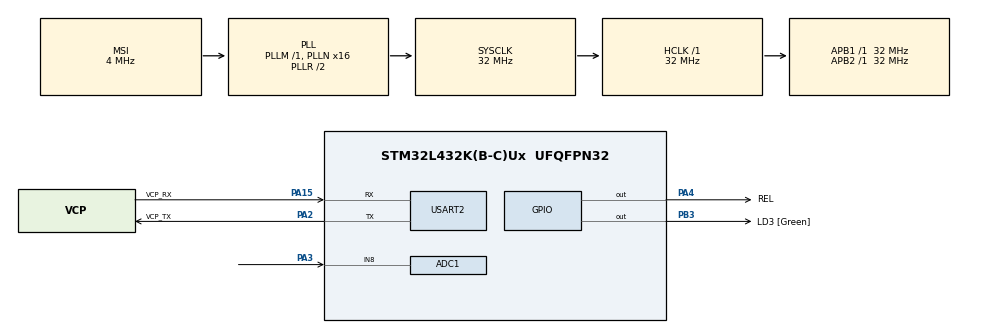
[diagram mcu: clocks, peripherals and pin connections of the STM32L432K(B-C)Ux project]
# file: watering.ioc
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ADC1.Channel-0\#ChannelRegularConversion=ADC_CHANNEL_8
ADC1.NbrOfConversionFlag=1
ADC1.OffsetNumber-0\#ChannelRegularConversion=ADC_OFFSET_NONE
ADC1.Rank-0\#ChannelRegularConversion=1
ADC1.SamplingTime-0\#ChannelRegularConversion=ADC_SAMPLETIME_2CYCLES_5
ADC1.master=1
Mcu.Family=STM32L4
Mcu.Name=STM32L432K(B-C)Ux
Mcu.Package=UFQFPN32
NVIC.PriorityGroup=NVIC_PRIORITYGROUP_4
PA0.GPIO_Label=MCO [High speed clock in]
PA0.Mode=HSE-External-Clock-Source-for-LittleOrca
PA0.Signal=RCC_CK_IN
PA13\ (JTMS-SWDIO).GPIO_Label=SWDIO
PA13\ (JTMS-SWDIO).Mode=Serial_Wire
PA13\ (JTMS-SWDIO).Signal=SYS_JTMS-SWDIO
PA14\ (JTCK-SWCLK).GPIO_Label=SWCLK
PA14\ (JTCK-SWCLK).Mode=Serial_Wire
PA14\ (JTCK-SWCLK).Signal=SYS_JTCK-SWCLK
PA15\ (JTDI).GPIO_Label=VCP_RX
PA15\ (JTDI).Mode=Asynchronous
PA15\ (JTDI).Signal=USART2_RX
PA2.GPIO_Label=VCP_TX
PA2.Mode=Asynchronous
PA2.Signal=USART2_TX
PA3.Signal=ADCx_IN8
PA4.GPIO_Label=REL
PA4.Signal=GPIO_Output
PB3\ (JTDO-TRACESWO).GPIO_Label=LD3 [Green]
PB3\ (JTDO-TRACESWO).Signal=GPIO_Output
PC14-OSC32_IN\ (PC14).Mode=LSE-External-Oscillator
PC14-OSC32_IN\ (PC14).Signal=RCC_OSC32_IN
PC15-OSC32_OUT\ (PC15).Mode=LSE-External-Oscillator
PC15-OSC32_OUT\ (PC15).Signal=RCC_OSC32_OUT
ProjectManager.HeapSize=0x200
ProjectManager.StackSize=0x400
ProjectManager.TargetToolchain=Makefile
RCC.ADCFreq_Value=32000000
RCC.AHBFreq_Value=32000000
RCC.APB1Freq_Value=32000000
RCC.APB1TimFreq_Value=32000000
RCC.APB2Freq_Value=32000000
RCC.APB2TimFreq_Value=32000000
RCC.CortexFreq_Value=32000000
RCC.HCLKFreq_Value=32000000
RCC.HSE_VALUE=8000000
RCC.HSI16_VALUE=16000000
RCC.HSI48_VALUE=48000000
RCC.HSI_VALUE=16000000
RCC.MSI_VALUE=4000000
RCC.PLLMUL=RCC_PLLMUL_4
RCC.PLLN=16
RCC.PLLSAI1N=16
RCC.SYSCLKFreq_VALUE=32000000
RCC.SYSCLKSource=RCC_SYSCLKSOURCE_PLLCLK
RCC.USBFreq_Value=32000000
RCC.VCOOutputFreq_Value=64000000
SH.ADCx_IN8.0=ADC1_IN8,IN8-Single-Ended
TIM16.Prescaler=32000
USART2.VirtualMode-Asynchronous=VM_ASYNC
VP_TIM16_VS_ClockSourceINT.Mode=Enable_Timer
board=NUCLEO-L432KC

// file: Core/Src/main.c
/* USER CODE BEGIN Header */
/**
 ******************************************************************************
 * @file           : main.c
 * @brief          : Main program body
 ******************************************************************************
 * @attention
 *
 * Copyright (c) 2024 STMicroelectronics.
 * All rights reserved.
 *
 * This software is licensed under terms that can be found in the LICENSE file
 * in the root directory of this software component.
 * If no LICENSE file comes with this software, it is provided AS-IS.
 *
 ******************************************************************************
 */
/* USER CODE END Header */
#include "main.h"

/* USER CODE BEGIN Includes */
#include <stdio.h>
#include <string.h>

/* USER CODE END Includes */

ADC_HandleTypeDef hadc1;

TIM_HandleTypeDef htim16;

UART_HandleTypeDef huart2;

void SystemClock_Config(void);
static void MX_GPIO_Init(void);
static void MX_TIM16_Init(void);
static void MX_USART2_UART_Init(void);
static void MX_ADC1_Init(void);

int main(void)
{

  /* MCU Configuration--------------------------------------------------------*/

  /* Reset of all peripherals, Initializes the Flash interface and the Systick. */
  HAL_Init();

  /* Configure the system clock */
  SystemClock_Config();

  /* Initialize all configured peripherals */
  MX_GPIO_Init();
  MX_TIM16_Init();
  MX_USART2_UART_Init();
  MX_ADC1_Init();
  /* USER CODE BEGIN 2 */

  HAL_TIM_Base_Start(&htim16);
  HAL_GPIO_WritePin(REL_GPIO_Port, REL_Pin, GPIO_PIN_SET); // begin with pump off

  int counter_val = 0;
  int half_secs = 0;

  int adc_value = 0;

  /* USER CODE END 2 */

  /* Infinite loop */
  /* USER CODE BEGIN WHILE */
  while (1)
  {

    counter_val = __HAL_TIM_GET_COUNTER(&htim16);

    if (counter_val >= 500)
    {
      HAL_GPIO_TogglePin(LD3_GPIO_Port, LD3_Pin);

      HAL_ADC_Start(&hadc1);
      HAL_ADC_PollForConversion(&hadc1, HAL_MAX_DELAY);
      adc_value = HAL_ADC_GetValue(&hadc1);
      HAL_ADC_Stop(&hadc1);

      printf("ADC Value: %d\r\n", adc_value);

      half_secs++;
      __HAL_TIM_SET_COUNTER(&htim16, 0);
    }

    if (half_secs >= 4)
    {
      printf("Toggle relay\r\n");
      HAL_GPIO_TogglePin(GPIOA, REL_Pin);

      half_secs = 0;
    }

    /* USER CODE END WHILE */

  }
}

void SystemClock_Config(void)
{
  RCC_OscInitTypeDef RCC_OscInitStruct = {0};
  RCC_ClkInitTypeDef RCC_ClkInitStruct = {0};

  /** Configure the main internal regulator output voltage
   */
  if (HAL_PWREx_ControlVoltageScaling(PWR_REGULATOR_VOLTAGE_SCALE1) != HAL_OK)
  {
    Error_Handler();
  }

  /** Configure LSE Drive Capability
   */
  HAL_PWR_EnableBkUpAccess();
  __HAL_RCC_LSEDRIVE_CONFIG(RCC_LSEDRIVE_LOW);

  /** Initializes the RCC Oscillators according to the specified parameters
   * in the RCC_OscInitTypeDef structure.
   */
  RCC_OscInitStruct.OscillatorType = RCC_OSCILLATORTYPE_LSE | RCC_OSCILLATORTYPE_MSI;
  RCC_OscInitStruct.LSEState = RCC_LSE_ON;
  RCC_OscInitStruct.MSIState = RCC_MSI_ON;
  RCC_OscInitStruct.MSICalibrationValue = 0;
  RCC_OscInitStruct.MSIClockRange = RCC_MSIRANGE_6;
  RCC_OscInitStruct.PLL.PLLState = RCC_PLL_ON;
  RCC_OscInitStruct.PLL.PLLSource = RCC_PLLSOURCE_MSI;
  RCC_OscInitStruct.PLL.PLLM = 1;
  RCC_OscInitStruct.PLL.PLLN = 16;
  RCC_OscInitStruct.PLL.PLLP = RCC_PLLP_DIV7;
  RCC_OscInitStruct.PLL.PLLQ = RCC_PLLQ_DIV2;
  RCC_OscInitStruct.PLL.PLLR = RCC_PLLR_DIV2;
  if (HAL_RCC_OscConfig(&RCC_OscInitStruct) != HAL_OK)
  {
    Error_Handler();
  }

  /** Initializes the CPU, AHB and APB buses clocks
   */
  RCC_ClkInitStruct.ClockType = RCC_CLOCKTYPE_HCLK | RCC_CLOCKTYPE_SYSCLK | RCC_CLOCKTYPE_PCLK1 | RCC_CLOCKTYPE_PCLK2;
  RCC_ClkInitStruct.SYSCLKSource = RCC_SYSCLKSOURCE_PLLCLK;
  RCC_ClkInitStruct.AHBCLKDivider = RCC_SYSCLK_DIV1;
  RCC_ClkInitStruct.APB1CLKDivider = RCC_HCLK_DIV1;
  RCC_ClkInitStruct.APB2CLKDivider = RCC_HCLK_DIV1;

  if (HAL_RCC_ClockConfig(&RCC_ClkInitStruct, FLASH_LATENCY_1) != HAL_OK)
  {
    Error_Handler();
  }

  /** Enable MSI Auto calibration
   */
  HAL_RCCEx_EnableMSIPLLMode();
}

static void MX_ADC1_Init(void)
{

  ADC_ChannelConfTypeDef sConfig = {0};

  /** Common config
   */
  hadc1.Instance = ADC1;
  hadc1.Init.ClockPrescaler = ADC_CLOCK_ASYNC_DIV1;
  hadc1.Init.Resolution = ADC_RESOLUTION_12B;
  hadc1.Init.DataAlign = ADC_DATAALIGN_RIGHT;
  hadc1.Init.ScanConvMode = ADC_SCAN_DISABLE;
  hadc1.Init.EOCSelection = ADC_EOC_SINGLE_CONV;
  hadc1.Init.LowPowerAutoWait = DISABLE;
  hadc1.Init.ContinuousConvMode = DISABLE;
  hadc1.Init.NbrOfConversion = 1;
  hadc1.Init.DiscontinuousConvMode = DISABLE;
  hadc1.Init.ExternalTrigConv = ADC_SOFTWARE_START;
  hadc1.Init.ExternalTrigConvEdge = ADC_EXTERNALTRIGCONVEDGE_NONE;
  hadc1.Init.DMAContinuousRequests = DISABLE;
  hadc1.Init.Overrun = ADC_OVR_DATA_PRESERVED;
  hadc1.Init.OversamplingMode = DISABLE;
  if (HAL_ADC_Init(&hadc1) != HAL_OK)
  {
    Error_Handler();
  }

  /** Configure Regular Channel
   */
  sConfig.Channel = ADC_CHANNEL_8;
  sConfig.Rank = ADC_REGULAR_RANK_1;
  sConfig.SamplingTime = ADC_SAMPLETIME_2CYCLES_5;
  sConfig.SingleDiff = ADC_SINGLE_ENDED;
  sConfig.OffsetNumber = ADC_OFFSET_NONE;
  sConfig.Offset = 0;
  if (HAL_ADC_ConfigChannel(&hadc1, &sConfig) != HAL_OK)
  {
    Error_Handler();
  }
}

static void MX_TIM16_Init(void)
{

  htim16.Instance = TIM16;
  htim16.Init.Prescaler = 32000;
  htim16.Init.CounterMode = TIM_COUNTERMODE_UP;
  htim16.Init.Period = 65535;
  htim16.Init.ClockDivision = TIM_CLOCKDIVISION_DIV1;
  htim16.Init.RepetitionCounter = 0;
  htim16.Init.AutoReloadPreload = TIM_AUTORELOAD_PRELOAD_DISABLE;
  if (HAL_TIM_Base_Init(&htim16) != HAL_OK)
  {
    Error_Handler();
  }
}

static void MX_USART2_UART_Init(void)
{

  huart2.Instance = USART2;
  huart2.Init.BaudRate = 115200;
  huart2.Init.WordLength = UART_WORDLENGTH_8B;
  huart2.Init.StopBits = UART_STOPBITS_1;
  huart2.Init.Parity = UART_PARITY_NONE;
  huart2.Init.Mode = UART_MODE_TX_RX;
  huart2.Init.HwFlowCtl = UART_HWCONTROL_NONE;
  huart2.Init.OverSampling = UART_OVERSAMPLING_16;
  huart2.Init.OneBitSampling = UART_ONE_BIT_SAMPLE_DISABLE;
  huart2.AdvancedInit.AdvFeatureInit = UART_ADVFEATURE_NO_INIT;
  if (HAL_UART_Init(&huart2) != HAL_OK)
  {
    Error_Handler();
  }
}

static void MX_GPIO_Init(void)
{
  GPIO_InitTypeDef GPIO_InitStruct = {0};

  /* GPIO Ports Clock Enable */
  __HAL_RCC_GPIOC_CLK_ENABLE();
  __HAL_RCC_GPIOA_CLK_ENABLE();
  __HAL_RCC_GPIOB_CLK_ENABLE();

  /*Configure GPIO pin Output Level */
  HAL_GPIO_WritePin(REL_GPIO_Port, REL_Pin, GPIO_PIN_RESET);

  /*Configure GPIO pin Output Level */
  HAL_GPIO_WritePin(LD3_GPIO_Port, LD3_Pin, GPIO_PIN_RESET);

  /*Configure GPIO pin : REL_Pin */
  GPIO_InitStruct.Pin = REL_Pin;
  GPIO_InitStruct.Mode = GPIO_MODE_OUTPUT_PP;
  GPIO_InitStruct.Pull = GPIO_NOPULL;
  GPIO_InitStruct.Speed = GPIO_SPEED_FREQ_LOW;
  HAL_GPIO_Init(REL_GPIO_Port, &GPIO_InitStruct);

  /*Configure GPIO pin : LD3_Pin */
  GPIO_InitStruct.Pin = LD3_Pin;
  GPIO_InitStruct.Mode = GPIO_MODE_OUTPUT_PP;
  GPIO_InitStruct.Pull = GPIO_NOPULL;
  GPIO_InitStruct.Speed = GPIO_SPEED_FREQ_LOW;
  HAL_GPIO_Init(LD3_GPIO_Port, &GPIO_InitStruct);

}

/* USER CODE BEGIN 4 */
int _write(int file, char *ptr, int len)
{
  HAL_UART_Transmit(&huart2, (uint8_t *)ptr, len, HAL_MAX_DELAY);
  return len;
}

/* USER CODE END 4 */

void Error_Handler(void)
{
  __disable_irq();
  while (1)
  {
  }
}
